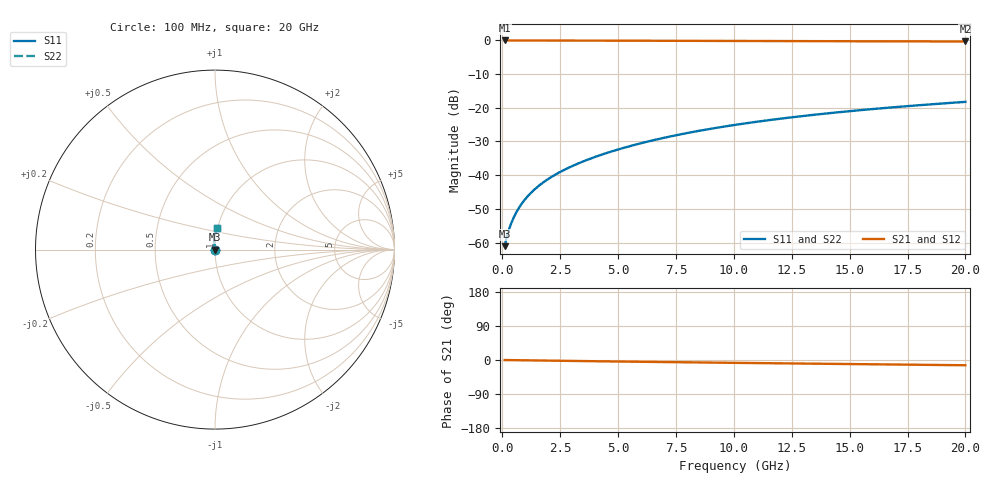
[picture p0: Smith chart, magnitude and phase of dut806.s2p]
! Touchstone file exported from HFSS 2024.1.0
!  File:  C:/UserFiles/LocalFiles/RDL_TSV_Batchsim/temp_RDL_bottom_806_1779862139.aedt
!  Generated:  02:11:38 PM May 27, 2026
!  Design:  RDL_bottom
!  Project:  temp_RDL_bottom_806_1779862139
!  Setup:  Setup1
!  Solution:  Sweep
! Variables:
!  dtsv = 10.80580581um
!  hbump = 3um
!  htsv = 63.52um
!  ldown = 198.57um
!  lrdl = 100um
!  p = 40
!  p1 = 47.36um
!  rhole = 1um
!  t = 450um
!  tdown = 4.75um
!  trdl = 3.915915916um
!  wdown = 28.33um
!  wrdl = 20um
# GHz S MA R 50.000000
! Terminal data exported
! Port[1] = RDL1_T1
! Port[2] = RDL1_T2
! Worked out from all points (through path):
!   200 points, 100 MHz to 20 GHz, reference 50 ohm
!   highest |S21| = -0.01 dB at 100 MHz (marker M1); lowest = -0.3 dB at 20 GHz (marker M2)
!   group delay of S21, straight-line fit = 1.89 ps
!   lowest |S11| = -61.1 dB at 100 MHz (marker M3), VSWR 1.00, Z = 50.1 + j0.0518 ohm
!   |S11| at or under -10 dB: start of sweep to end of sweep
!   |S22| runs from -61.1 to -18.2 dB; largest |S21 - S12| = 4.3e-15
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0.1  0.0008836 35.8  0.9993 -0.1  0.9993 -0.1  0.0008836 35.8
! Gamma 0 0 0 0
! Port Impedance 50 0 50 0
0.2  0.001239 51.4  0.9992 -0.2  0.9992 -0.2  0.001239 51.4
0.3  0.001608 60.0  0.9991 -0.3  0.9991 -0.3  0.001608 60.0
0.4  0.001988 65.9  0.9991 -0.3  0.9991 -0.3  0.001988 65.9
0.5  0.002381 70.1  0.999 -0.4  0.999 -0.4  0.002381 70.1
0.6  0.002783 73.3  0.999 -0.5  0.999 -0.5  0.002783 73.3
0.8  0.003609 77.8  0.9988 -0.7  0.9988 -0.7  0.003609 77.8
1.1  0.004881 82.0  0.9986 -0.9  0.9986 -0.9  0.004881 82.0
1.5  0.006619 85.5  0.9982 -1.3  0.9982 -1.3  0.006619 85.5
1.8  0.007951 87.4  0.9979 -1.5  0.9979 -1.5  0.007951 87.4
2.1  0.009308 88.9  0.9975 -1.8  0.9975 -1.8  0.009308 88.9
2.7  0.01211 91.2  0.9965 -2.2  0.9965 -2.2  0.01211 91.2
3.5  0.01603 93.3  0.9951 -2.9  0.9951 -2.9  0.01603 93.3
4.2  0.01967 94.6  0.9936 -3.4  0.9936 -3.4  0.01967 94.6
5  0.02406 95.5  0.9918 -4.0  0.9918 -4.0  0.02406 95.5
6.8  0.03473 96.2  0.9877 -5.3  0.9877 -5.3  0.03473 96.2
8.4  0.0449 95.7  0.9842 -6.4  0.9842 -6.4  0.0449 95.7
10.1  0.05612 94.6  0.9807 -7.5  0.9807 -7.5  0.05612 94.6
11.7  0.06687 93.2  0.9777 -8.6  0.9777 -8.6  0.06687 93.2
13.4  0.07837 91.6  0.9748 -9.7  0.9748 -9.7  0.07837 91.6
16.7  0.1006 88.3  0.9695 -11.8  0.9695 -11.8  0.1006 88.3
20  0.1225 85.2  0.9646 -13.9  0.9646 -13.9  0.1225 85.2
